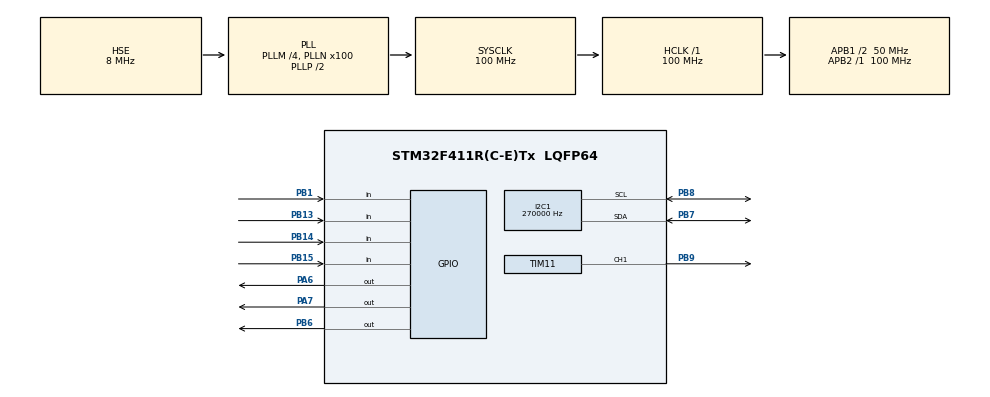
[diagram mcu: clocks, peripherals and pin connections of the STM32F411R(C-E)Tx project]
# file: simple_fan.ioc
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I2C1.ClockSpeed=270000
I2C1.I2C_Mode=I2C_Fast
Mcu.Family=STM32F4
Mcu.Name=STM32F411R(C-E)Tx
Mcu.Package=LQFP64
NVIC.PriorityGroup=NVIC_PRIORITYGROUP_4
PA13.Mode=Serial_Wire
PA13.Signal=SYS_JTMS-SWDIO
PA14.Mode=Serial_Wire
PA14.Signal=SYS_JTCK-SWCLK
PA6.Signal=GPIO_Output
PA7.Signal=GPIO_Output
PB1.GPIO_PuPd=GPIO_NOPULL
PB1.Signal=GPIO_Input
PB13.GPIO_PuPd=GPIO_NOPULL
PB13.Signal=GPIO_Input
PB14.GPIO_PuPd=GPIO_NOPULL
PB14.Signal=GPIO_Input
PB15.GPIO_PuPd=GPIO_NOPULL
PB15.Signal=GPIO_Input
PB6.Signal=GPIO_Output
PB7.Mode=I2C
PB7.Signal=I2C1_SDA
PB8.Mode=I2C
PB8.Signal=I2C1_SCL
PB9.Signal=S_TIM11_CH1
PH0\ -\ OSC_IN.Mode=HSE-External-Oscillator
PH0\ -\ OSC_IN.Signal=RCC_OSC_IN
PH1\ -\ OSC_OUT.Mode=HSE-External-Oscillator
PH1\ -\ OSC_OUT.Signal=RCC_OSC_OUT
ProjectManager.HeapSize=0x200
ProjectManager.StackSize=0x400
ProjectManager.TargetToolchain=STM32CubeIDE
RCC.48MHZClocksFreq_Value=50000000
RCC.AHBFreq_Value=100000000
RCC.APB1CLKDivider=RCC_HCLK_DIV2
RCC.APB1Freq_Value=50000000
RCC.APB1TimFreq_Value=100000000
RCC.APB2Freq_Value=100000000
RCC.APB2TimFreq_Value=100000000
RCC.CortexFreq_Value=100000000
RCC.HCLKFreq_Value=100000000
RCC.HSE_VALUE=8000000
RCC.HSI_VALUE=16000000
RCC.LSE_VALUE=32768
RCC.PLLM=4
RCC.PLLN=100
RCC.PLLSourceVirtual=RCC_PLLSOURCE_HSE
RCC.SYSCLKFreq_VALUE=100000000
RCC.SYSCLKSource=RCC_SYSCLKSOURCE_PLLCLK
RCC.VCOOutputFreq_Value=200000000
SH.S_TIM11_CH1.0=TIM11_CH1,PWM Generation1 CH1
TIM11.Channel=TIM_CHANNEL_1
TIM11.Period=1000-1
VP_TIM11_VS_ClockSourceINT.Mode=Enable_Timer
board=custom

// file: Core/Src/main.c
/* USER CODE BEGIN Header */
/**
  ******************************************************************************
  * @file           : main.c
  * @brief          : Main program body
  ******************************************************************************
  * @attention
  *
  * Copyright (c) 2023 STMicroelectronics.
  * All rights reserved.
  *
  * This software is licensed under terms that can be found in the LICENSE file
  * in the root directory of this software component.
  * If no LICENSE file comes with this software, it is provided AS-IS.
  *
  ******************************************************************************
  */
/* USER CODE END Header */
#include "main.h"
#include "i2c.h"
#include "tim.h"
#include "gpio.h"

/* USER CODE BEGIN Includes */
#include "led.h"
#include "lcd.h"
#include "button.h"

#include "fan.h"
/* USER CODE END Includes */

void SystemClock_Config(void);

int main(void)
{
  /* USER CODE BEGIN 1 */
  // GPIO pin specifications for buttons and LEDs
  GPIO_TypeDef *button_GPIOx[4] = {GPIOB, GPIOB, GPIOB, GPIOB};
  uint16_t button_GPIO_Pin[4] = {
          GPIO_PIN_1, GPIO_PIN_15, GPIO_PIN_14, GPIO_PIN_13
  };

  GPIO_TypeDef *led_GPIOx[3] = {GPIOA, GPIOA, GPIOB};
  uint16_t led_GPIO_Pin[3] = {GPIO_PIN_6, GPIO_PIN_7, GPIO_PIN_6};
  /* USER CODE END 1 */

  /* MCU Configuration--------------------------------------------------------*/

  /* Reset of all peripherals, Initializes the Flash interface and the Systick. */
  HAL_Init();

  /* Configure the system clock */
  SystemClock_Config();

  /* Initialize all configured peripherals */
  MX_GPIO_Init();
  MX_TIM11_Init();
  MX_I2C1_Init();
  /* USER CODE BEGIN 2 */
  // Declare and initialize buttons/LEDs/fan structures
  // initialize LCD
  Button button_stop;
  Button button_speed1, button_speed2, button_speed3;

  button_init(&button_stop, button_GPIOx[0], button_GPIO_Pin[0]);
  button_init(&button_speed1, button_GPIOx[1], button_GPIO_Pin[1]);
  button_init(&button_speed2, button_GPIOx[2], button_GPIO_Pin[2]);
  button_init(&button_speed3, button_GPIOx[3], button_GPIO_Pin[3]);

  LED led_speed1, led_speed2, led_speed3;

  led_init(&led_speed1, led_GPIOx[0], led_GPIO_Pin[0]);
  led_init(&led_speed2, led_GPIOx[1], led_GPIO_Pin[1]);
  led_init(&led_speed3, led_GPIOx[2], led_GPIO_Pin[2]);

  LCD_init();
  LCD_send_str("Stopped");

  Fan fan;

  fan_init(&fan, &htim11, TIM_CHANNEL_1);
  /* USER CODE END 2 */

  /* Infinite loop */
  while (1)
  {

    /* USER CODE BEGIN 3 */
	// Detect 'button push' for each button and do the corresponding directives
    if (button_getAction(&button_stop) == ACT_PUSH) {
    	// Turn the fan off
        fan_changeSpeed(&fan, 0.);

        // Turn the LEDs off
        led_off(&led_speed1);
        led_off(&led_speed2);
        led_off(&led_speed3);

        // Display 'Stopped'
        LCD_put_cursor(0, 0);
        LCD_send_str("Stopped");
    }
    if (button_getAction(&button_speed1) == ACT_PUSH) {
    	// Turn the fan on at speed 1
        fan_changeSpeed(&fan, 0.65);

        // Turn on only the LED indicating speed 1
        led_off(&led_speed2);
        led_off(&led_speed3);
        led_on(&led_speed1);

        // Display 'Speed 1'
        LCD_put_cursor(0, 0);
        LCD_send_str("Speed 1");
    }
    if (button_getAction(&button_speed2) == ACT_PUSH) {
    	// Turn the fan on at speed 2
        fan_changeSpeed(&fan, 0.82);

        // Turn on only the LED indicating speed 2
        led_off(&led_speed1);
        led_off(&led_speed3);
        led_on(&led_speed2);

        // Display 'Speed 2'
        LCD_put_cursor(0, 0);
        LCD_send_str("Speed 2");
    }
    if (button_getAction(&button_speed3) == ACT_PUSH) {
    	// Turn the fan on at speed 3
        fan_changeSpeed(&fan, 1.);

        // Turn on only the LED indicating speed 3
        led_off(&led_speed1);
        led_off(&led_speed2);
        led_on(&led_speed3);

        // Display 'Speed 3'
        LCD_put_cursor(0, 0);
        LCD_send_str("Speed 3");
    }
  }
  /* USER CODE END 3 */
}

void SystemClock_Config(void)
{
  RCC_OscInitTypeDef RCC_OscInitStruct = {0};
  RCC_ClkInitTypeDef RCC_ClkInitStruct = {0};

  /** Configure the main internal regulator output voltage
  */
  __HAL_RCC_PWR_CLK_ENABLE();
  __HAL_PWR_VOLTAGESCALING_CONFIG(PWR_REGULATOR_VOLTAGE_SCALE1);

  /** Initializes the RCC Oscillators according to the specified parameters
  * in the RCC_OscInitTypeDef structure.
  */
  RCC_OscInitStruct.OscillatorType = RCC_OSCILLATORTYPE_HSE;
  RCC_OscInitStruct.HSEState = RCC_HSE_ON;
  RCC_OscInitStruct.PLL.PLLState = RCC_PLL_ON;
  RCC_OscInitStruct.PLL.PLLSource = RCC_PLLSOURCE_HSE;
  RCC_OscInitStruct.PLL.PLLM = 4;
  RCC_OscInitStruct.PLL.PLLN = 100;
  RCC_OscInitStruct.PLL.PLLP = RCC_PLLP_DIV2;
  RCC_OscInitStruct.PLL.PLLQ = 4;
  if (HAL_RCC_OscConfig(&RCC_OscInitStruct) != HAL_OK)
  {
    Error_Handler();
  }

  /** Initializes the CPU, AHB and APB buses clocks
  */
  RCC_ClkInitStruct.ClockType = RCC_CLOCKTYPE_HCLK|RCC_CLOCKTYPE_SYSCLK
                              |RCC_CLOCKTYPE_PCLK1|RCC_CLOCKTYPE_PCLK2;
  RCC_ClkInitStruct.SYSCLKSource = RCC_SYSCLKSOURCE_PLLCLK;
  RCC_ClkInitStruct.AHBCLKDivider = RCC_SYSCLK_DIV1;
  RCC_ClkInitStruct.APB1CLKDivider = RCC_HCLK_DIV2;
  RCC_ClkInitStruct.APB2CLKDivider = RCC_HCLK_DIV1;

  if (HAL_RCC_ClockConfig(&RCC_ClkInitStruct, FLASH_LATENCY_3) != HAL_OK)
  {
    Error_Handler();
  }
}

void Error_Handler(void)
{
  __disable_irq();
  while (1)
  {
  }
}
